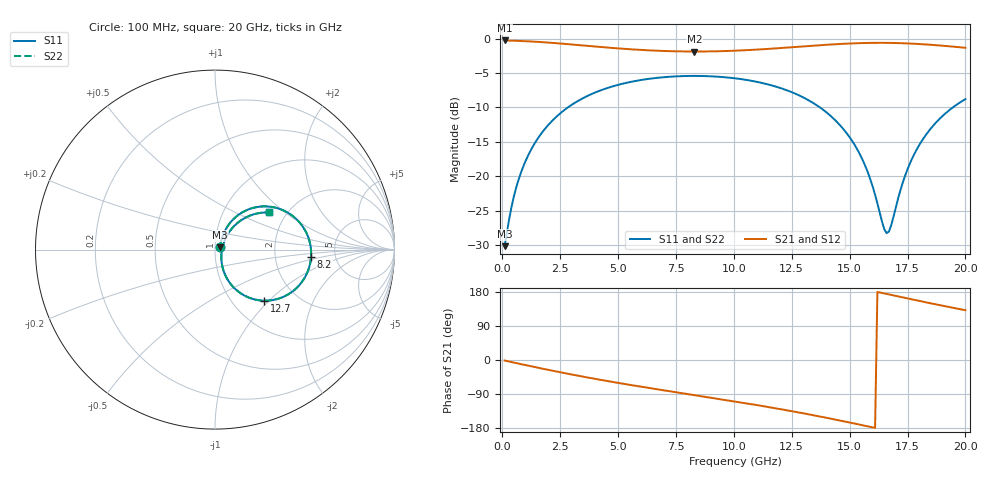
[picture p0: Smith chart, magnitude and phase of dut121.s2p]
! Touchstone file exported from HFSS 2026.1.0
!  File:  C:/ffzhzh/LocalFiles/Ansys_Project_Files/temp_train_TSV_RDL_121_1783047703_17544.aedt
!  Generated:  11:14:29 AM Jul  3, 2026
!  Design:  TSV_RDL
!  Project:  temp_train_TSV_RDL_121_1783047703_17544
! Variables:
!  h_bsmrdl = 5.14um
!  h_ox = 20um
!  h_rdl = 5um
!  h_sub = 58.69um
!  h_tmrdl = 2.05um
!  h_tsv = 58.69um
!  h_via = 3um
!  l_bsmrdl = 913.52um
!  l_sub = 3815.46um
!  l_tmrdl = 139.04um
!  m_sub = 200um
!  pitch = 33.37um
!  r_tsv = 2.69um
!  s_tmrdl = 10um
!  w_bsmrdl = 10.5um
!  w_sub = 500um
!  w_tmrdl = 29.08um
!  x_tsv_center1 = 153.58um
!  x_tsv_center2 = 1077.6um
!  x_tsv_center3 = 1245.72um
!  x_tsv_center4 = 2169.74um
!  x_tsv_center5 = 2337.86um
!  x_tsv_center6 = 3261.88um
# GHz S MA R 50.000000
! Terminal data exported
! Port[1] = TM_RDL1_1_T1
! Port[2] = TM_RDL5_1_T1
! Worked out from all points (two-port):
!   200 points, 100 MHz to 20 GHz, reference 50 ohm
!   highest |S21| = -0.25 dB at 100 MHz (marker M1); lowest = -1.9 dB at 8.3 GHz (marker M2)
!   |S21| within 3 dB of the highest: start of sweep to end of sweep
!   lowest |S11| = -30.2 dB at 100 MHz (marker M3), VSWR 1.06, Z = 52.9 + j1.35 ohm
!   |S11| at or under -10 dB: start of sweep to 2.829 GHz; 13.72 GHz to 19.46 GHz (5.734 GHz wide, 34.6 % of centre)
!   |S22| runs from -30.2 to -5.4 dB; largest |S21 - S12| = 1.7e-14
!   S11 on the Smith chart (normalised r, x): 100 MHz: 1.06, +0.03; 8.2 GHz: 3.27, -0.35; 12.7 GHz: 1.39, -0.94; 20 GHz: 1.62, +0.77
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0.1  0.03097 24.3  0.972 -1.4  0.972 -1.4  0.03097 24.3
! Gamma 0 0 0 0
! Port Impedance 50 0 50 0
0.4  0.05998 54.8  0.969 -5.5  0.969 -5.5  0.05998 54.8
0.6  0.08259 60.0  0.9664 -8.1  0.9664 -8.1  0.08259 60.0
1.2  0.151 61.6  0.9566 -16.0  0.9566 -16.0  0.151 61.6
2.2  0.2576 53.7  0.9325 -28.7  0.9325 -28.7  0.2576 53.7
3.5  0.3707 40.5  0.8935 -44.1  0.8935 -44.1  0.3707 40.5
5  0.462 25.5  0.8509 -60.4  0.8509 -60.4  0.462 25.5
6.8  0.522 8.5  0.8169 -78.3  0.8169 -78.3  0.522 8.5
8.2  0.5367 -4.1  0.8076 -91.7  0.8076 -91.7  0.5367 -4.1
8.3  0.5367 -5.0  0.8075 -92.6  0.8075 -92.6  0.5367 -5.0
10.1  0.5144 -21.3  0.8195 -110.0  0.8195 -110.0  0.5143 -21.3
12.7  0.3954 -46.0  0.8724 -137.3  0.8724 -137.3  0.3954 -46.1
13.4  0.3432 -52.9  0.8899 -145.3  0.8899 -145.3  0.3432 -52.9
14.4  0.2535 -62.2  0.9129 -157.4  0.9129 -157.4  0.2534 -62.3
15.2  0.1707 -67.7  0.9266 -167.5  0.9266 -167.5  0.1707 -67.7
15.9  0.09428 -65.4  0.9333 -176.6  0.9333 -176.6  0.09419 -65.5
16.5  0.04105 -27.6  0.9341 175.6  0.9341 175.6  0.04083 -27.7
16.7  0.03961 4.6  0.9334 172.9  0.9334 172.9  0.03939 4.7
17.4  0.1012 49.3  0.9265 163.7  0.9265 163.7  0.1011 49.5
18  0.1677 51.0  0.9159 156.0  0.9159 156.0  0.1677 51.1
18.9  0.263 44.9  0.8934 144.6  0.8934 144.6  0.2629 45.0
20  0.3636 34.7  0.8598 131.5  0.8598 131.5  0.3636 34.7
